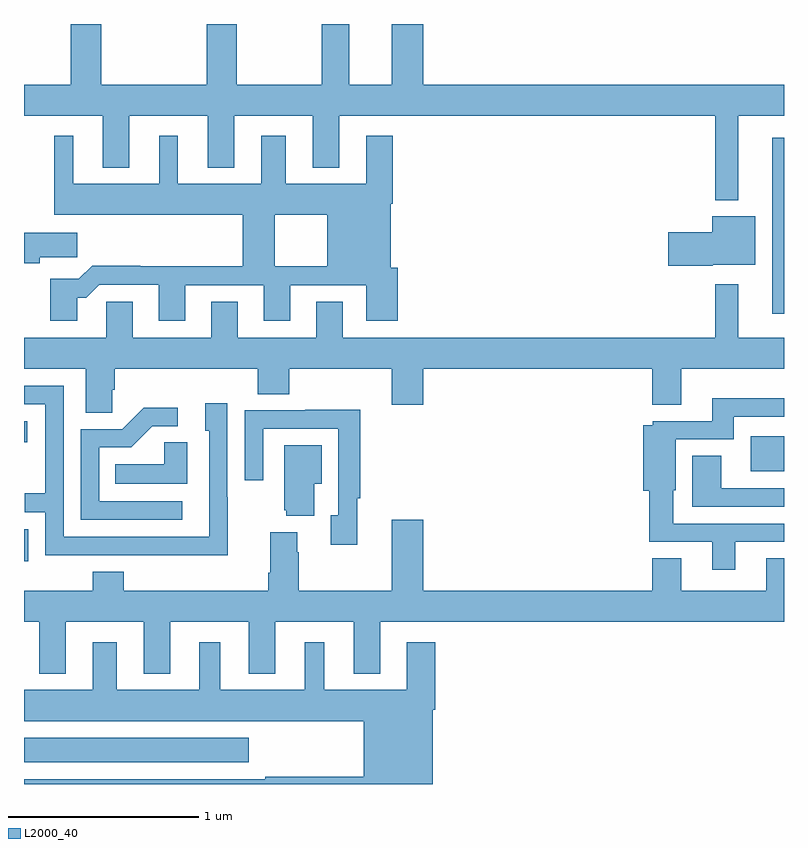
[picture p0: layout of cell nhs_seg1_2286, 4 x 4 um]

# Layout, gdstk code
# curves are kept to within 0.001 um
import gdstk
lib = gdstk.Library(unit=1e-6, precision=1e-09)
def R(c, l, rs):  # rectangles x0, y0, x1, y1
    for r in rs: c.add(gdstk.rectangle(r[:2], r[2:], *l))
def P(c, l, *ps):  # polygons
    for p in ps: c.add(gdstk.Polygon(p, *l))
L2000_40 = (2000, 40)

nhs_seg1_2286 = lib.new_cell('nhs_seg1_2286')
R(nhs_seg1_2286, L2000_40, [(235,564.314,236.182,564.442), (235,565.371,235.023,565.539), (238.826,565.844,239,566.029), (235,565.997,235.018,566.107), (238.937,566.673,239,567.601)])
P(nhs_seg1_2286, L2000_40, [(238.759,567.716),(239,567.716),(239,567.88),(237.1,567.88),(237.1,568.199),(236.936,568.199),(236.936,567.88),(236.713,567.88),(236.713,568.199),(236.566,568.199),(236.566,567.88),(236.121,567.88),(236.121,568.199),(235.961,568.199),(235.961,567.88),(235.406,567.88),(235.406,568.199),(235.246,568.199),(235.246,567.88),(235,567.88),(235,567.716),(235.415,567.716),(235.415,567.443),(235.555,567.443),(235.555,567.716),(235.967,567.716),(235.967,567.443),(236.107,567.443),(236.107,567.716),(236.519,567.716),(236.519,567.443),(236.659,567.443),(236.659,567.716),(238.638,567.716),(238.638,567.272),(238.759,567.272)],
  [(235.613,566.927),(235.358,566.927),(235.288,566.857),(235.139,566.857),(235.139,566.637),(235.279,566.637),(235.279,566.759),(235.328,566.759),(235.395,566.826),(235.709,566.826),(235.709,566.637),(235.849,566.637),(235.849,566.823),(236.261,566.823),(236.261,566.637),(236.401,566.637),(236.401,566.823),(236.801,566.823),(236.801,566.637),(236.966,566.637),(236.966,566.916),(236.929,566.916),(236.929,567.254),(236.942,567.254),(236.942,567.61),(236.801,567.61),(236.801,567.358),(236.377,567.358),(236.377,567.61),(236.249,567.61),(236.249,567.358),(235.81,567.358),(235.81,567.61),(235.712,567.61),(235.712,567.358),(235.258,567.358),(235.258,567.61),(235.16,567.61),(235.16,567.194),(236.15,567.194),(236.15,566.924),(236.32,566.924),(236.32,567.194),(236.597,567.194),(236.597,566.924),(235.613,566.924)],
  [(238.626,566.933),(238.849,566.933),(238.849,567.187),(238.622,567.187),(238.622,567.104),(238.392,567.104),(238.392,566.926),(238.626,566.926)],
  [(235.084,566.971),(235.279,566.971),(235.279,567.1),(235,567.1),(235,566.939),(235.084,566.939)],
  [(239,566.548),(238.759,566.548),(238.759,566.83),(238.638,566.83),(238.638,566.548),(236.677,566.548),(236.677,566.738),(236.537,566.738),(236.537,566.548),(236.125,566.548),(236.125,566.738),(235.985,566.738),(235.985,566.548),(235.573,566.548),(235.573,566.738),(235.434,566.738),(235.434,566.548),(235,566.548),(235,566.384),(235.325,566.384),(235.325,566.152),(235.464,566.152),(235.464,566.275),(235.478,566.275),(235.478,566.384),(236.231,566.384),(236.231,566.251),(236.396,566.251),(236.396,566.384),(236.936,566.384),(236.936,566.196),(237.1,566.196),(237.1,566.384),(238.307,566.384),(238.307,566.194),(238.459,566.194),(238.459,566.384),(239,566.384)],
  [(236.073,565.709),(236.07,565.709),(236.07,566.203),(235.955,566.203),(235.955,566.058),(235.974,566.058),(235.974,565.5),(235.209,565.5),(235.209,566.295),(235,566.295),(235,566.199),(235.113,566.199),(235.113,565.73),(235.003,565.73),(235.003,565.629),(235.113,565.629),(235.113,565.404),(235.609,565.404),(235.609,565.403),(236.073,565.403)],
  [(238.744,565.473),(239,565.473),(239,565.569),(238.417,565.569),(238.417,565.746),(238.429,565.746),(238.429,566.013),(238.735,566.013),(238.735,566.133),(239,566.133),(239,566.23),(238.622,566.23),(238.622,566.109),(238.308,566.109),(238.308,566.086),(238.259,566.086),(238.259,565.742),(238.292,565.742),(238.292,565.473),(238.622,565.473),(238.622,565.326),(238.744,565.326)],
  [(235.834,565.686),(235.395,565.686),(235.395,565.971),(235.564,565.971),(235.675,566.082),(235.81,566.082),(235.81,566.18),(235.631,566.18),(235.518,566.067),(235.299,566.067),(235.299,565.59),(235.834,565.59)],
  [(236.753,565.702),(236.771,565.702),(236.771,566.168),(236.479,566.168),(236.479,566.166),(236.163,566.166),(236.163,565.797),(236.259,565.797),(236.259,566.07),(236.655,566.07),(236.655,565.614),(236.615,565.614),(236.615,565.458),(236.753,565.458)],
  [(235.858,565.997),(235.737,565.997),(235.737,565.882),(235.48,565.882),(235.48,565.778),(235.858,565.778)],
  [(236.527,565.778),(236.566,565.778),(236.566,565.981),(236.369,565.981),(236.369,565.641),(236.381,565.641),(236.381,565.61),(236.527,565.61)],
  [(239,565.755),(238.669,565.755),(238.669,565.927),(238.517,565.927),(238.517,565.659),(239,565.659)],
  [(235.219,565.052),(235.631,565.052),(235.631,564.779),(235.771,564.779),(235.771,565.052),(236.183,565.052),(236.183,564.779),(236.323,564.779),(236.323,565.052),(236.735,565.052),(236.735,564.779),(236.875,564.779),(236.875,565.052),(239,565.052),(239,565.388),(238.907,565.388),(238.907,565.216),(238.459,565.216),(238.459,565.388),(238.307,565.388),(238.307,565.216),(237.1,565.216),(237.1,565.591),(236.936,565.591),(236.936,565.216),(236.445,565.216),(236.445,565.418),(236.437,565.418),(236.437,565.525),(236.297,565.525),(236.297,565.312),(236.285,565.312),(236.285,565.216),(235.526,565.216),(235.526,565.315),(235.361,565.315),(235.361,565.216),(235,565.216),(235,565.052),(235.079,565.052),(235.079,564.779),(235.219,564.779)],
  [(237.151,564.59),(237.164,564.59),(237.164,564.946),(237.014,564.946),(237.014,564.694),(236.581,564.694),(236.581,564.946),(236.477,564.946),(236.477,564.694),(236.032,564.694),(236.032,564.946),(235.922,564.946),(235.922,564.694),(235.489,564.694),(235.489,564.946),(235.361,564.946),(235.361,564.694),(235,564.694),(235,564.53),(236.789,564.53),(236.789,564.238),(236.269,564.238),(236.269,564.225),(235,564.225),(235,564.199),(237.151,564.199)])

lib.write_gds('nhs_seg1_2286.gds')
